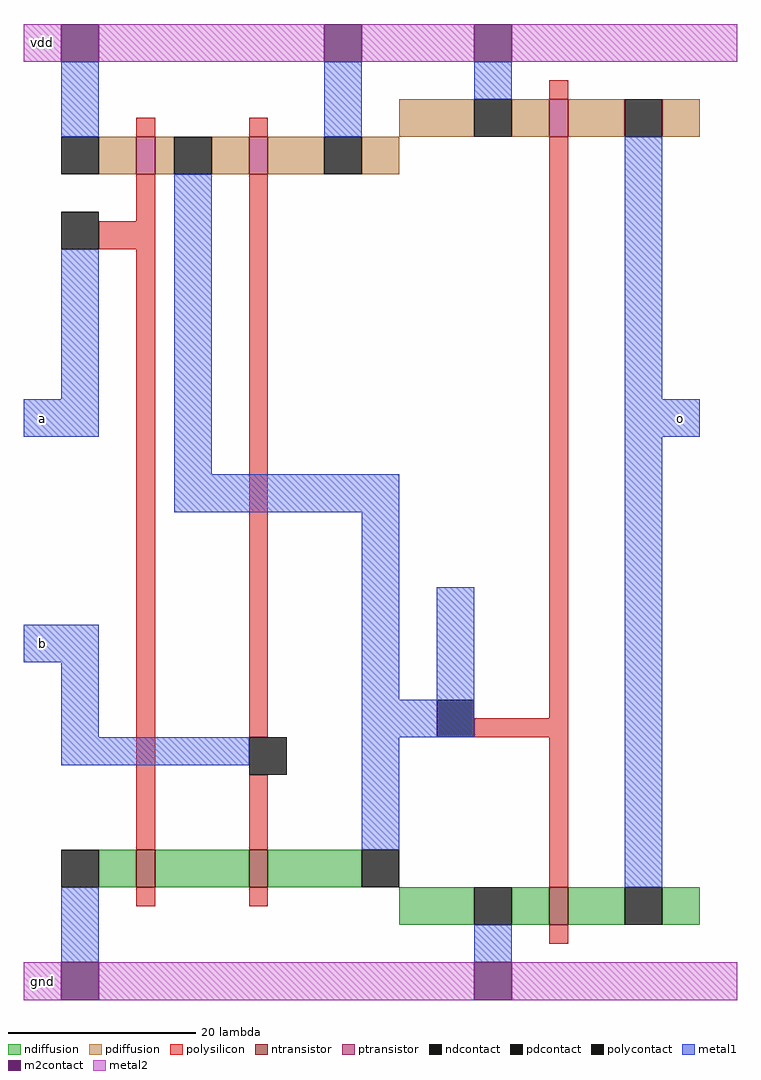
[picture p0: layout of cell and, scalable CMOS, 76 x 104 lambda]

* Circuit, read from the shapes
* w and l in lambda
.subckt and a b gnd o vdd
M1 n1 a gnd VSUBS nfet w=4 l=2
M2 not_0/i b n1 VSUBS nfet w=4 l=2
M3 o not_0/i gnd VSUBS nfet w=4 l=2
M4 not_0/i a vdd NWELL pfet w=4 l=2
M5 vdd b not_0/i NWELL pfet w=4 l=2
M6 o not_0/i vdd NWELL pfet w=4 l=2
.ends

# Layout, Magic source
magic
tech scmos
<< metal1 >>
rect -4 60 0 64
rect 64 60 68 64
rect -4 36 0 40
rect 36 28 44 32
<< metal2 >>
rect -4 100 0 104
rect -4 0 0 4
use nand  nand_0
transform 1 0 -4 0 1 0
box 4 0 44 104
use not  not_0
transform 1 0 32 0 1 0
box 8 0 40 104
<< labels >>
rlabel metal2 -2 102 -2 102 4 vdd
rlabel metal1 -2 62 -2 62 3 a
rlabel metal2 -2 2 -2 2 2 gnd
rlabel metal1 66 62 66 62 1 o
rlabel metal1 -2 38 -2 38 3 b
<< end >>

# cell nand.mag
magic
tech scmos
<< polysilicon >>
rect 12 92 14 94
rect 24 92 26 94
rect 12 83 14 88
rect 8 80 14 83
rect 12 16 14 80
rect 24 28 26 88
rect 24 16 26 24
rect 12 10 14 12
rect 24 10 26 12
<< ndiffusion >>
rect 8 12 12 16
rect 14 12 24 16
rect 26 12 36 16
<< pdiffusion >>
rect 8 88 12 92
rect 14 88 16 92
rect 20 88 24 92
rect 26 88 32 92
rect 36 88 40 92
<< metal1 >>
rect 4 92 8 100
rect 32 92 36 100
rect 4 60 8 80
rect 16 56 20 88
rect 16 52 40 56
rect 4 28 8 40
rect 4 25 24 28
rect 36 16 40 52
rect 4 4 8 12
<< metal2 >>
rect 8 100 32 104
rect 36 100 44 104
rect 8 0 44 4
<< ntransistor >>
rect 12 12 14 16
rect 24 12 26 16
<< ptransistor >>
rect 12 88 14 92
rect 24 88 26 92
<< polycontact >>
rect 4 80 8 84
rect 24 24 28 28
<< ndcontact >>
rect 4 12 8 16
rect 36 12 40 16
<< pdcontact >>
rect 4 88 8 92
rect 16 88 20 92
rect 32 88 36 92
<< m2contact >>
rect 4 100 8 104
rect 32 100 36 104
rect 4 0 8 4
<< end >>

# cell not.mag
magic
tech scmos
<< polysilicon >>
rect 20 96 22 98
rect 20 30 22 92
rect 12 28 22 30
rect 20 12 22 28
rect 20 6 22 8
<< ndiffusion >>
rect 4 8 12 12
rect 16 8 20 12
rect 22 8 28 12
rect 32 8 36 12
<< pdiffusion >>
rect 4 92 12 96
rect 16 92 20 96
rect 22 92 28 96
rect 32 92 36 96
<< metal1 >>
rect 12 96 16 100
rect 8 32 12 44
rect 28 12 32 92
rect 12 4 16 8
<< metal2 >>
rect 4 100 12 104
rect 16 100 40 104
rect 4 0 12 4
rect 16 0 40 4
<< ntransistor >>
rect 20 8 22 12
<< ptransistor >>
rect 20 92 22 96
<< polycontact >>
rect 8 28 12 32
<< ndcontact >>
rect 12 8 16 12
rect 28 8 32 12
<< pdcontact >>
rect 12 92 16 96
rect 28 92 32 96
<< m2contact >>
rect 12 100 16 104
rect 12 0 16 4
<< labels >>
rlabel metal2 6 2 6 2 2 gnd
rlabel metal2 6 102 6 102 4 vdd
rlabel polysilicon 21 64 21 64 1 i
rlabel metal1 30 63 30 63 1 o
<< end >>
